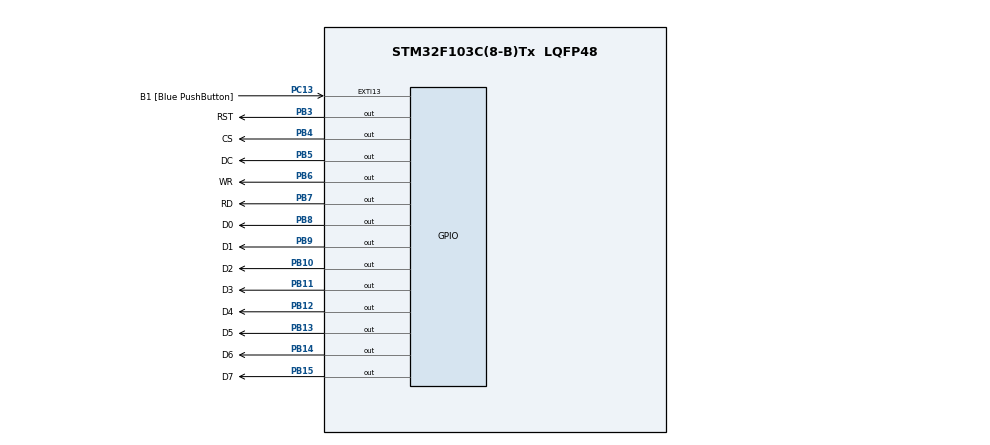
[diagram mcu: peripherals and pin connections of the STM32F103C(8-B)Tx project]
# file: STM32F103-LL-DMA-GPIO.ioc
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Dma.Request0=TIM1_UP
Dma.TIM1_UP.0.Direction=DMA_MEMORY_TO_PERIPH
Dma.TIM1_UP.0.Instance=DMA1_Channel5
Dma.TIM1_UP.0.MemDataAlignment=DMA_MDATAALIGN_HALFWORD
Dma.TIM1_UP.0.MemInc=DMA_MINC_ENABLE
Dma.TIM1_UP.0.Mode=DMA_NORMAL
Dma.TIM1_UP.0.PeriphDataAlignment=DMA_PDATAALIGN_HALFWORD
Dma.TIM1_UP.0.PeriphInc=DMA_PINC_DISABLE
Dma.TIM1_UP.0.Priority=DMA_PRIORITY_VERY_HIGH
Mcu.Family=STM32F1
Mcu.Name=STM32F103C(8-B)Tx
Mcu.Package=LQFP48
NVIC.DMA1_Channel5_IRQn=true\:0\:0\:false\:false\:true\:false\:true
NVIC.EXTI15_10_IRQn=true\:0\:0\:false\:false\:true\:true\:true
NVIC.PriorityGroup=NVIC_PRIORITYGROUP_4
PA13.Mode=Serial_Wire
PA13.Signal=SYS_JTMS-SWDIO
PA14.Mode=Serial_Wire
PA14.Signal=SYS_JTCK-SWCLK
PB10.GPIO_Label=D2
PB10.Signal=GPIO_Output
PB11.GPIO_Label=D3
PB11.Signal=GPIO_Output
PB12.GPIO_Label=D4
PB12.Signal=GPIO_Output
PB13.GPIO_Label=D5
PB13.Signal=GPIO_Output
PB14.GPIO_Label=D6
PB14.Signal=GPIO_Output
PB15.GPIO_Label=D7
PB15.Signal=GPIO_Output
PB3.GPIO_Label=RST
PB3.Signal=GPIO_Output
PB4.GPIO_Label=CS
PB4.Signal=GPIO_Output
PB5.GPIO_Label=DC
PB5.Signal=GPIO_Output
PB6.GPIO_Label=WR
PB6.Signal=GPIO_Output
PB7.GPIO_Label=RD
PB7.Signal=GPIO_Output
PB8.GPIO_Label=D0
PB8.Signal=GPIO_Output
PB9.GPIO_Label=D1
PB9.Signal=GPIO_Output
PC13-TAMPER-RTC.GPIO_Label=B1 [Blue PushButton]
PC13-TAMPER-RTC.GPIO_ModeDefaultEXTI=GPIO_MODE_IT_FALLING
PC13-TAMPER-RTC.GPIO_PuPd=GPIO_NOPULL
PC13-TAMPER-RTC.Signal=GPXTI13
PC14-OSC32_IN.Mode=LSE-External-Oscillator
PC14-OSC32_IN.Signal=RCC_OSC32_IN
PC15-OSC32_OUT.Mode=LSE-External-Oscillator
PC15-OSC32_OUT.Signal=RCC_OSC32_OUT
PD0-OSC_IN.Mode=HSE-External-Oscillator
PD0-OSC_IN.Signal=RCC_OSC_IN
PD1-OSC_OUT.Mode=HSE-External-Oscillator
PD1-OSC_OUT.Signal=RCC_OSC_OUT
ProjectManager.HeapSize=0x200
ProjectManager.StackSize=0x400
ProjectManager.TargetToolchain=Makefile
RCC.AHBFreq_Value=72000000
RCC.APB1CLKDivider=RCC_HCLK_DIV2
RCC.APB1Freq_Value=36000000
RCC.APB1TimFreq_Value=72000000
RCC.APB2Freq_Value=72000000
RCC.APB2TimFreq_Value=72000000
RCC.HCLKFreq_Value=72000000
RCC.PLLMUL=RCC_PLL_MUL9
RCC.PLLSourceVirtual=RCC_PLLSOURCE_HSE
RCC.SYSCLKFreq_VALUE=72000000
RCC.SYSCLKSource=RCC_SYSCLKSOURCE_PLLCLK
RCC.USBFreq_Value=72000000
TIM1.Period=72-1
TIM1.Prescaler=0
VP_TIM1_VS_ClockSourceINT.Mode=Internal
board=STM32F103-LL-DMA-GPIO

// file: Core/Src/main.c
/* USER CODE BEGIN Header */
/**
  ******************************************************************************
  * @file           : main.c
  * @brief          : Main program body
  ******************************************************************************
  * @attention
  *
  * <h2><center>&copy; Copyright (c) 2021 STMicroelectronics.
  * All rights reserved.</center></h2>
  *
  * This software component is licensed by ST under BSD 3-Clause license,
  * the "License"; You may not use this file except in compliance with the
  * License. You may obtain a copy of the License at:
  *                        opensource.org/licenses/BSD-3-Clause
  *
  ******************************************************************************
  */
/* USER CODE END Header */
#include "main.h"
#include "dma.h"
#include "tim.h"
#include "gpio.h"

/* USER CODE BEGIN Includes */
#include "stdio.h"
/* USER CODE END Includes */

/* USER CODE BEGIN PV */
uint16_t data[] = {0x0101, 0x0202, 0x0303, 0x0404, 0x0505, 0x0606, 0x0707, 0x0808, 0x0909, 0xa0a0, 0xb0b0, 0xc0c0, 0xd0d0, 0xe0e0, 0xf0f0, 0x1f1f, 0x2f2f}; // Data to transfer

// static uint16_t cmmd_mask = 0b1110000000000000 | (1<<RD) | (0<<WR) | (0<<DC) | (0<<CS) | (1<<RST);
// GPIOB->ODR = cmmd_mask | eightbit;
// static uint16_t data_mask = 0b1110000000000000 | (1<<RD) | (0<<WR) | (1<<DC) | (0<<CS) | (1<<RST);
// GPIOB->ODR = data_mask | eightbit;

/* USER CODE END PV */

void SystemClock_Config(void);

/* USER CODE BEGIN 0 */
int _write(int file, char *ptr, int len)
{
	int DataIdx;
	for(DataIdx = 0; DataIdx < len; DataIdx++)
	{
	   ITM_SendChar( *ptr++ );
	}
	return len;
}

void dma_transmit(uint32_t SrcAddress, uint32_t DstAddress, uint32_t DataLength)
{
  LL_DMA_DisableChannel(DMA1, LL_DMA_CHANNEL_5);
  LL_DMA_ClearFlag_TC5(DMA1);
  LL_DMA_ClearFlag_TE5(DMA1);

  LL_DMA_SetDataLength(DMA1, LL_DMA_CHANNEL_5, DataLength);
  LL_DMA_ConfigAddresses(DMA1, LL_DMA_CHANNEL_5, (uint32_t)SrcAddress, (uint32_t)DstAddress, LL_DMA_GetDataTransferDirection(DMA1, LL_DMA_CHANNEL_5));

  LL_DMA_EnableIT_TC(DMA1, LL_DMA_CHANNEL_5);
  LL_DMA_EnableIT_TE(DMA1, LL_DMA_CHANNEL_5);
  LL_DMA_EnableChannel(DMA1, LL_DMA_CHANNEL_5);
}

/* USER CODE END 0 */

int main(void)
{

  /* MCU Configuration--------------------------------------------------------*/

  /* Reset of all peripherals, Initializes the Flash interface and the Systick. */

  LL_APB2_GRP1_EnableClock(LL_APB2_GRP1_PERIPH_AFIO);
  LL_APB1_GRP1_EnableClock(LL_APB1_GRP1_PERIPH_PWR);

  NVIC_SetPriorityGrouping(NVIC_PRIORITYGROUP_4);

  /* System interrupt init*/

  /** NOJTAG: JTAG-DP Disabled and SW-DP Enabled
  */
  LL_GPIO_AF_Remap_SWJ_NOJTAG();

  /* Configure the system clock */
  SystemClock_Config();

  /* Initialize all configured peripherals */
  MX_GPIO_Init();
  MX_DMA_Init();
  MX_TIM1_Init();
  /* USER CODE BEGIN 2 */

  TIM1->CR1 |= TIM_CR1_CEN; // TIM1 Start
  dma_transmit((uint32_t)data, ((uint32_t)&GPIOB->ODR), 17);
  TIM1->DIER |= TIM_DIER_UDE; // update event

  printf("Running\n");
  /* USER CODE END 2 */

  /* Infinite loop */
  /* USER CODE BEGIN WHILE */
  while (1)
  {

    printf("DMA Transmit...\n");
    dma_transmit((uint32_t)data, ((uint32_t)&GPIOB->ODR), 17);
    TIM1->DIER |= TIM_DIER_UDE;

    // for(uint16_t i =0; i<1e3L; i++) __asm volatile ("nop");

    /* USER CODE END WHILE */

  }
}

void SystemClock_Config(void)
{
  LL_FLASH_SetLatency(LL_FLASH_LATENCY_2);
  while(LL_FLASH_GetLatency()!= LL_FLASH_LATENCY_2)
  {
  }
  LL_RCC_HSE_Enable();

   /* Wait till HSE is ready */
  while(LL_RCC_HSE_IsReady() != 1)
  {

  }
  LL_RCC_PLL_ConfigDomain_SYS(LL_RCC_PLLSOURCE_HSE_DIV_1, LL_RCC_PLL_MUL_9);
  LL_RCC_PLL_Enable();

   /* Wait till PLL is ready */
  while(LL_RCC_PLL_IsReady() != 1)
  {

  }
  LL_RCC_SetAHBPrescaler(LL_RCC_SYSCLK_DIV_1);
  LL_RCC_SetAPB1Prescaler(LL_RCC_APB1_DIV_2);
  LL_RCC_SetAPB2Prescaler(LL_RCC_APB2_DIV_1);
  LL_RCC_SetSysClkSource(LL_RCC_SYS_CLKSOURCE_PLL);

   /* Wait till System clock is ready */
  while(LL_RCC_GetSysClkSource() != LL_RCC_SYS_CLKSOURCE_STATUS_PLL)
  {

  }
  LL_Init1msTick(72000000);
  LL_SetSystemCoreClock(72000000);
}

void Error_Handler(void)
{
  /* USER CODE BEGIN Error_Handler_Debug */
  // printf("Error! %s:%d", file, line);
  /* User can add his own implementation to report the HAL error return state */
  __disable_irq();
  while (1)
  {
  }
  /* USER CODE END Error_Handler_Debug */
}

/************************ (C) COPYRIGHT STMicroelectronics *****END OF FILE****/
